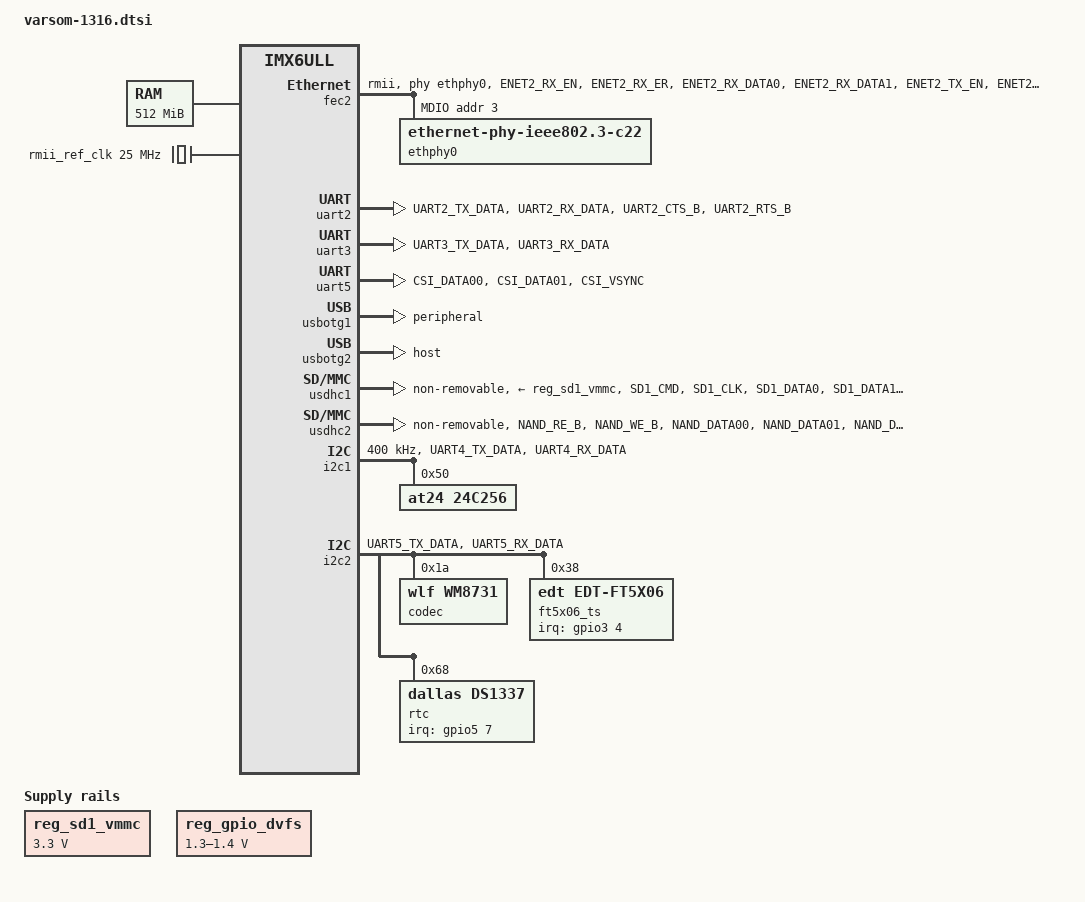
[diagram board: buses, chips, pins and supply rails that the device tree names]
/*
 * Copyright (C) 2015 Freescale Semiconductor, Inc.
 *
 * Copyright (C) 2015-2016 Variscite Ltd. - http://www.variscite.com
 *
 * Copyright (C) 2018 DataSoft Corp.
 *
 * This program is free software; you can redistribute it and/or modify
 * it under the terms of the GNU General Public License version 2 as
 * published by the Free Software Foundation.
 */

#include <dt-bindings/input/input.h>
#include "imx6ull.dtsi"

/ {
	chosen {
		stdout-path = &uart5;
	};

	memory {
		reg = <0x80000000 0x20000000>;
	};

	regulators {
		compatible = "simple-bus";
		#address-cells = <1>;
		#size-cells = <0>;

		reg_sd1_vmmc: regulator_sd1_vmmc {
			compatible = "regulator-fixed";
			regulator-name = "VSD_3V3";
			regulator-min-microvolt = <3300000>;
			regulator-max-microvolt = <3300000>;
		};

		reg_gpio_dvfs: regulator-gpio {
			compatible = "regulator-gpio";
			regulator-min-microvolt = <1300000>;
			regulator-max-microvolt = <1400000>;
			regulator-name = "gpio_dvfs";
			regulator-type = "voltage";
			gpios = <&gpio4 13 GPIO_ACTIVE_HIGH>;
			states = <1300000 0x1 1400000 0x0>;
		};
	};
};

&cpu0 {
	arm-supply = <&reg_arm>;
	soc-supply = <&reg_soc>;
	dc-supply = <&reg_gpio_dvfs>;
};

&clks {
	/* ref_clk for micrel ethernet phy */
	rmii_ref_clk: rmii_ref_clk_grp {
		compatible = "fixed-clock";
		#clock-cells = <0>;
		clock-frequency = <25000000>;
		clock-output-names = "rmii-ref";
	};
};

&clks {
	assigned-clocks = <&clks IMX6UL_CLK_PLL4_AUDIO_DIV>;
	assigned-clock-rates = <786432000>;
};

&fec2 {
	pinctrl-names = "default";
	pinctrl-0 = <&pinctrl_enet2>;
	phy-mode = "rmii";
	phy-handle = <&ethphy0>;
	phy-reset-gpios=<&gpio1 10 1>;
	phy-reset-duration=<100>;
	phy-reset-on-resume;
	status = "okay";
	mdio {
		#address-cells = <1>;
		#size-cells = <0>;

		ethphy0: ethernet-phy@3 {
			compatible = "ethernet-phy-ieee802.3-c22";
			micrel,rmii-reference-clock-select-25-mhz;
			clocks = <&rmii_ref_clk>;
			clock-names = "rmii-ref";
			reg = <3>;
		};
	};
};

/* Bluetooth UART */
&uart2 {
	pinctrl-names = "default";
	pinctrl-0 = <&pinctrl_uart2>;
	fsl,uart-has-rtscts;
	status = "okay";
};

/* HMI UART */
&uart3 {
	pinctrl-names = "default";
	pinctrl-0 = <&pinctrl_uart3>;
	status = "okay";
};

/* Console/GPS uart */
&uart5 {
	pinctrl-names = "default";
	pinctrl-0 = <&pinctrl_uart5>;
	status = "okay";
};

&usbotg1 {
	dr_mode = "peripheral";
	disable-over-current;
	status = "okay";
};

&usbotg2 {
	dr_mode = "host";
	disable-over-current;
	status = "okay";
};

&usdhc1 {
	pinctrl-names = "default", "state_100mhz", "state_200mhz";
	pinctrl-0 = <&pinctrl_usdhc1>;
	pinctrl-1 = <&pinctrl_usdhc1_100mhz>;
	pinctrl-2 = <&pinctrl_usdhc1_200mhz>;
	no-1-8-v;
	keep-power-in-suspend;
	vmmc-supply = <&reg_sd1_vmmc>;
	non-removable;
	status = "okay";
};

&usdhc2 {
	pinctrl-names = "default";
	pinctrl-0 = <&pinctrl_usdhc2>;
	no-1-8-v;
	non-removable;
	keep-power-in-suspend;
	enable-sdio-wakeup;
	status = "okay";
};

&i2c1 {
	clock-frequency = <400000>;
	pinctrl-names = "default";
	pinctrl-0 = <&pinctrl_i2c1>;
	status = "okay";
	at24@50 {
		compatible = "at24,24c256";
		pagesize = <64>;
		reg = <0x50>;
	};
};

&i2c2 {
	clock_frequency = <100000>;
	pinctrl-names = "default";
	pinctrl-0 = <&pinctrl_i2c2>;
	status = "okay";

	codec: wm8731@1a {
		#sound-dai-cells = <0>;
		compatible = "wlf,wm8731";
		reg = <0x1a>;
		clocks = <&clks IMX6UL_CLK_SAI2>;
		clock-names = "mclk";
	};

	ft5x06_ts@38 {
		compatible = "edt,edt-ft5x06";
		reg = <0x38>;
		interrupt-parent = <&gpio3>;
		interrupts = <4 0>;
		touchscreen-size-x = <800>;
		touchscreen-size-y = <480>;
		touchscreen-inverted-x;
		touchscreen-inverted-y;
	};

	/* DS1337 RTC module */
	rtc@0x68 {
		compatible = "dallas,ds1337";
		reg = <0x68>;
		pinctrl-names = "default";
		pinctrl-0 = <&pinctrl_rtc>;
		interrupt-parent = <&gpio5>;
		interrupts = <7 IRQ_TYPE_EDGE_FALLING>;
	};
};

&iomuxc {
	pinctrl-names = "default";
	pinctrl-0 = <&pinctrl_hog_1>;
	varsom-1316 {
		pinctrl_hog_1: hoggrp-1 {
			fsl,pins = <
				MX6UL_PAD_GPIO1_IO07__ENET2_MDC		0x1b0b0
				MX6UL_PAD_GPIO1_IO06__ENET2_MDIO	0x1b0b0
				MX6UL_PAD_GPIO1_IO03__REF_CLK_32K	0x03029	/* WLAN Slow Clock */
			>;
		};

		pinctrl_enet2: enet2grp {
			fsl,pins = <
				MX6UL_PAD_ENET2_RX_EN__ENET2_RX_EN	0x1b0b0
				MX6UL_PAD_ENET2_RX_ER__ENET2_RX_ER	0x1b0b0
				MX6UL_PAD_ENET2_RX_DATA0__ENET2_RDATA00	0x1b0b0
				MX6UL_PAD_ENET2_RX_DATA1__ENET2_RDATA01	0x1b0b0
				MX6UL_PAD_ENET2_TX_EN__ENET2_TX_EN	0x1b0b0
				MX6UL_PAD_ENET2_TX_DATA0__ENET2_TDATA00	0x1b0b0
				MX6UL_PAD_ENET2_TX_DATA1__ENET2_TDATA01	0x1b0b0
				MX6UL_PAD_ENET2_TX_CLK__ENET2_REF_CLK2	0x4001b031
				MX6UL_PAD_JTAG_MOD__GPIO1_IO10		0x1b0b0
			>;
		};

		pinctrl_uart1: uart1grp {
			fsl,pins = <
				MX6UL_PAD_UART1_TX_DATA__UART1_DCE_TX	0x1b0b1
				MX6UL_PAD_UART1_RX_DATA__UART1_DCE_RX	0x1b0b1
			>;
		};

		pinctrl_uart2: uart2grp {
			fsl,pins = <
				MX6UL_PAD_UART2_TX_DATA__UART2_DCE_TX	0x1b0b1
				MX6UL_PAD_UART2_RX_DATA__UART2_DCE_RX	0x1b0b1
				MX6UL_PAD_UART2_CTS_B__UART2_DCE_CTS	0x1b0b1
				MX6UL_PAD_UART2_RTS_B__UART2_DCE_RTS	0x1b0b1
			>;
		};

		pinctrl_uart3: uart3grp {
			fsl,pins = <
				MX6UL_PAD_UART3_TX_DATA__UART3_DCE_TX	0x1b0b1
				MX6UL_PAD_UART3_RX_DATA__UART3_DCE_RX	0x1b0b1
			>;
		};

		pinctrl_uart5: uart5grp {
			fsl,pins = <
				MX6UL_PAD_CSI_DATA00__UART5_DCE_TX		0x1b0b1
				MX6UL_PAD_CSI_DATA01__UART5_DCE_RX		0x1b0b1
				MX6UL_PAD_CSI_VSYNC__GPIO4_IO19			0x1b0b1
			>;
		};

		pinctrl_usdhc1: usdhc1grp {
			fsl,pins = <
				MX6UL_PAD_SD1_CMD__USDHC1_CMD		0x17059
				MX6UL_PAD_SD1_CLK__USDHC1_CLK		0x17059
				MX6UL_PAD_SD1_DATA0__USDHC1_DATA0	0x17059
				MX6UL_PAD_SD1_DATA1__USDHC1_DATA1	0x17059
				MX6UL_PAD_SD1_DATA2__USDHC1_DATA2	0x17059
				MX6UL_PAD_SD1_DATA3__USDHC1_DATA3	0x17059
			>;
		};

		pinctrl_usdhc1_100mhz: usdhc1grp100mhz {
			fsl,pins = <
				MX6UL_PAD_SD1_CMD__USDHC1_CMD		0x170b9
				MX6UL_PAD_SD1_CLK__USDHC1_CLK		0x100b9
				MX6UL_PAD_SD1_DATA0__USDHC1_DATA0	0x170b9
				MX6UL_PAD_SD1_DATA1__USDHC1_DATA1	0x170b9
				MX6UL_PAD_SD1_DATA2__USDHC1_DATA2	0x170b9
				MX6UL_PAD_SD1_DATA3__USDHC1_DATA3	0x170b9
				MX6UL_PAD_CSI_VSYNC__GPIO4_IO19		0x1b0b1	/* SD card detect */
			>;
		};

		pinctrl_usdhc1_200mhz: usdhc1grp200mhz {
			fsl,pins = <
				MX6UL_PAD_SD1_CMD__USDHC1_CMD		0x170f9
				MX6UL_PAD_SD1_CLK__USDHC1_CLK		0x100f9
				MX6UL_PAD_SD1_DATA0__USDHC1_DATA0	0x170f9
				MX6UL_PAD_SD1_DATA1__USDHC1_DATA1	0x170f9
				MX6UL_PAD_SD1_DATA2__USDHC1_DATA2	0x170f9
				MX6UL_PAD_SD1_DATA3__USDHC1_DATA3	0x170f9
				MX6UL_PAD_CSI_VSYNC__GPIO4_IO19		0x1b0b1	/* SD card detect */
			>;
		};

		pinctrl_usdhc2: usdhc2grp {
			fsl,pins = <
				MX6UL_PAD_NAND_RE_B__USDHC2_CLK		0x17059
				MX6UL_PAD_NAND_WE_B__USDHC2_CMD		0x17059
				MX6UL_PAD_NAND_DATA00__USDHC2_DATA0	0x17059
				MX6UL_PAD_NAND_DATA01__USDHC2_DATA1	0x17059
				MX6UL_PAD_NAND_DATA02__USDHC2_DATA2	0x17059
				MX6UL_PAD_NAND_DATA03__USDHC2_DATA3	0x17059
			>;
		};

		pinctrl_i2c1: i2c1grp {
			fsl,pins = <
				MX6UL_PAD_UART4_TX_DATA__I2C1_SCL	0x4001b8b0
				MX6UL_PAD_UART4_RX_DATA__I2C1_SDA	0x4001b8b0
			>;
		};

		pinctrl_i2c2: i2c2grp {
			fsl,pins = <
				MX6UL_PAD_UART5_TX_DATA__I2C2_SCL	0x4001b8b0
				MX6UL_PAD_UART5_RX_DATA__I2C2_SDA	0x4001b8b0
			>;
		};
	};
};

&snvs_rtc {
	status = "disabled";
};

&snvs_poweroff {
	status = "okay";
};
